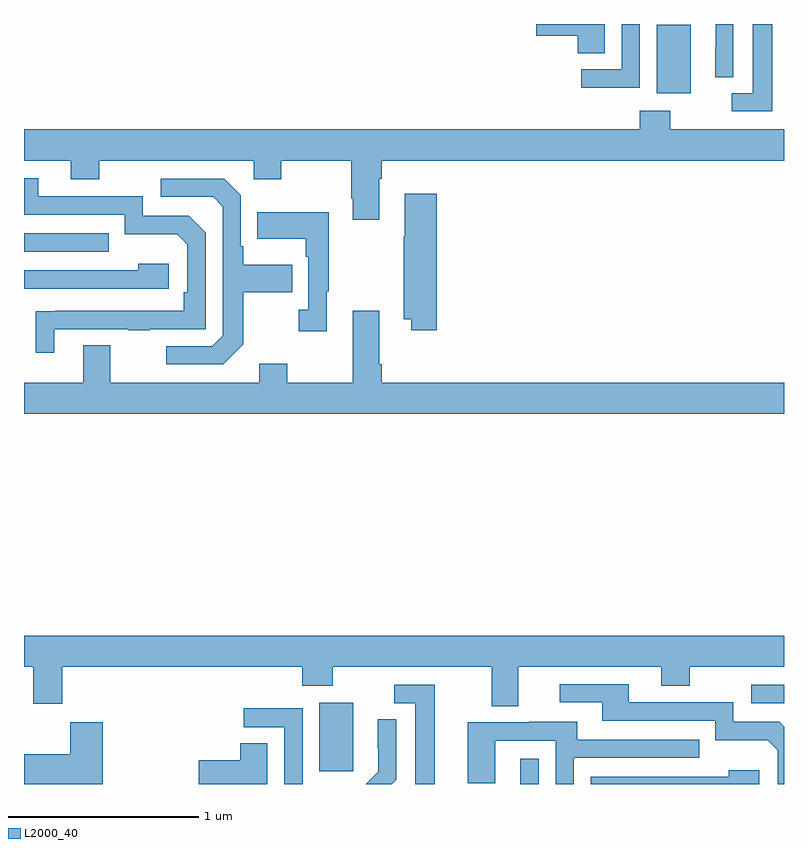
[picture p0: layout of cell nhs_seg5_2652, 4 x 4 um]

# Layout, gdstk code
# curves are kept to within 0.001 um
import gdstk
lib = gdstk.Library(unit=1e-6, precision=1e-09)
def R(c, l, rs):  # rectangles x0, y0, x1, y1
    for r in rs: c.add(gdstk.rectangle(r[:2], r[2:], *l))
def P(c, l, *ps):  # polygons
    for p in ps: c.add(gdstk.Polygon(p, *l))
L2000_40 = (2000, 40)

nhs_seg5_2652 = lib.new_cell('nhs_seg5_2652')
R(nhs_seg5_2652, L2000_40, [(267.611,866.799,267.708,866.932), (266.555,866.865,266.734,867.226), (268.827,867.225,269,867.321), (265,869.601,265.445,869.697), (268.331,870.434,268.51,870.795)])
P(nhs_seg5_2652, L2000_40, [(268.939,870.799),(268.835,870.799),(268.835,870.435),(268.725,870.435),(268.725,870.339),(268.939,870.339)],
  [(268.057,870.799),(267.696,870.799),(267.696,870.737),(267.914,870.737),(267.914,870.646),(268.057,870.646)],
  [(268.734,870.799),(268.638,870.799),(268.64,870.797),(268.64,870.674),(268.638,870.674),(268.638,870.52),(268.734,870.52)],
  [(268.242,870.799),(268.146,870.799),(268.146,870.561),(267.933,870.561),(267.933,870.463),(268.242,870.463)],
  [(266.869,869.984),(266.882,869.984),(266.882,870.08),(269,870.08),(269,870.244),(268.401,870.244),(268.401,870.343),(268.241,870.343),(268.241,870.244),(265,870.244),(265,870.08),(265.247,870.08),(265.247,869.981),(265.395,869.981),(265.395,870.08),(266.208,870.08),(266.208,869.981),(266.355,869.981),(266.355,870.08),(266.722,870.08),(266.722,869.881),(266.729,869.881),(266.729,869.769),(266.869,869.769)],
  [(265.159,869.193),(265.549,869.193),(265.549,869.188),(265.661,869.188),(265.661,869.193),(265.956,869.193),(265.956,869.7),(265.866,869.79),(265.626,869.79),(265.626,869.892),(265.075,869.892),(265.075,869.988),(265,869.988),(265,869.796),(265.53,869.796),(265.53,869.693),(265.807,869.693),(265.86,869.64),(265.86,869.386),(265.84,869.386),(265.84,869.289),(265.063,869.288),(265.063,869.07),(265.159,869.07)],
  [(266.155,869.113),(266.155,869.386),(266.411,869.386),(266.411,869.533),(266.155,869.533),(266.155,869.629),(266.142,869.629),(266.142,869.898),(266.055,869.985),(265.719,869.985),(265.719,869.889),(265.995,869.889),(266.046,869.838),(266.046,869.157),(265.992,869.103),(265.749,869.103),(265.749,869.007),(266.049,869.007)],
  [(267.173,869.905),(267.005,869.905),(267.005,869.681),(266.998,869.681),(266.998,869.246),(267.038,869.246),(267.038,869.187),(267.173,869.187)],
  [(266.593,869.393),(266.605,869.393),(266.605,869.809),(266.227,869.809),(266.227,869.669),(266.484,869.669),(266.484,869.573),(266.496,869.573),(266.496,869.294),(266.445,869.294),(266.445,869.181),(266.593,869.181)],
  [(265.762,869.536),(265.601,869.536),(265.601,869.502),(265,869.502),(265,869.406),(265.762,869.406)],
  [(269,868.912),(266.882,868.912),(266.882,869.008),(266.869,869.008),(266.869,869.29),(266.729,869.29),(266.729,868.912),(266.385,868.912),(266.385,869.011),(266.237,869.011),(266.237,868.912),(265.453,868.912),(265.453,869.107),(265.313,869.107),(265.313,868.912),(265,868.912),(265,868.748),(269,868.748)],
  [(265,867.416),(265.049,867.416),(265.049,867.222),(265.202,867.222),(265.202,867.416),(266.465,867.416),(266.465,867.317),(266.625,867.317),(266.625,867.416),(267.461,867.416),(267.461,867.208),(267.601,867.208),(267.601,867.416),(268.355,867.416),(268.355,867.317),(268.503,867.317),(268.503,867.416),(269,867.416),(269,867.58),(265,867.58)],
  [(269,867.1),(268.974,867.126),(268.734,867.126),(268.734,867.228),(268.183,867.228),(268.183,867.324),(267.819,867.324),(267.819,867.228),(268.043,867.228),(268.043,867.132),(268.638,867.132),(268.638,867.029),(268.915,867.029),(268.968,866.976),(268.968,866.799),(269,866.799)],
  [(267.163,867.321),(266.949,867.321),(266.949,867.225),(267.059,867.225),(267.059,866.799),(267.163,866.799)],
  [(266.466,867.198),(266.157,867.198),(266.157,867.099),(266.37,867.099),(266.37,866.799),(266.466,866.799)],
  [(266.958,866.822),(266.958,867.14),(266.862,867.14),(266.862,866.986),(266.864,866.986),(266.864,866.864),(266.799,866.799),(266.935,866.799)],
  [(267.894,866.937),(268.553,866.937),(268.553,867.033),(267.913,867.033),(267.913,867.127),(267.659,867.127),(267.659,867.123),(267.335,867.123),(267.335,866.803),(267.48,866.803),(267.48,867.027),(267.798,867.027),(267.798,866.799),(267.894,866.799)],
  [(265.415,867.124),(265.244,867.124),(265.244,866.956),(265.001,866.956),(265.001,866.799),(265.415,866.799)],
  [(266.281,867.014),(266.138,867.014),(266.138,866.924),(265.92,866.924),(265.92,866.799),(266.281,866.799)],
  [(268.87,866.872),(268.709,866.872),(268.709,866.838),(267.984,866.838),(267.984,866.799),(268.87,866.799)])

lib.write_gds('nhs_seg5_2652.gds')
